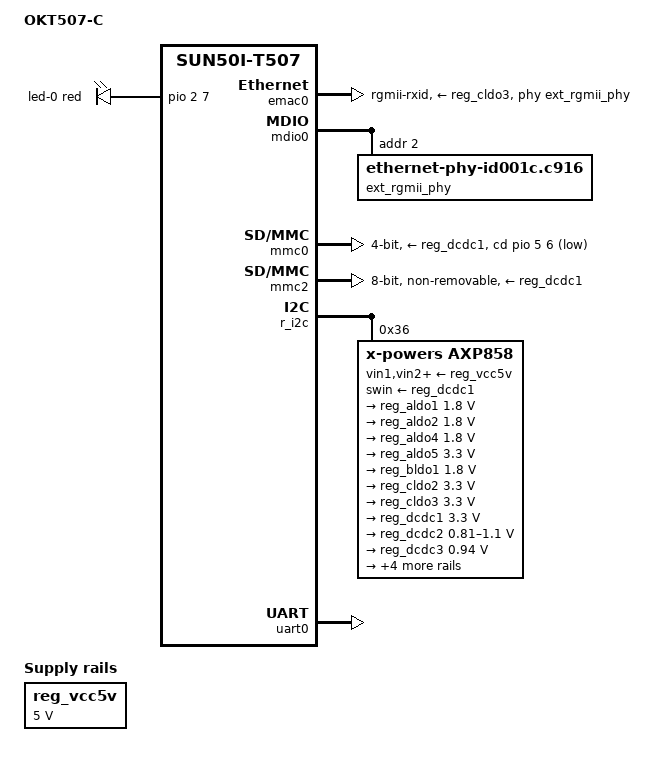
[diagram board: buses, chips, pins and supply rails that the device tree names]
// SPDX-License-Identifier: (GPL-2.0+ OR MIT)
/*
 * Copyright (C) 2024 Jernej Skrabec <jernej.skrabec@gmail.com>
 */

/dts-v1/;

#include "sun50i-h616.dtsi"

#include <dt-bindings/gpio/gpio.h>
#include <dt-bindings/interrupt-controller/arm-gic.h>
#include <dt-bindings/leds/common.h>

/ {
	model = "OKT507-C";
	compatible = "forlinx,okt507-c", "allwinner,sun50i-t507";

	aliases {
		serial0 = &uart0;
	};

	chosen {
		stdout-path = "serial0:115200n8";
	};

	leds {
		compatible = "gpio-leds";

		led-0 {
			function = LED_FUNCTION_POWER;
			color = <LED_COLOR_ID_RED>;
			gpios = <&pio 2 7 GPIO_ACTIVE_HIGH>; /* PC7 */
			default-state = "on";
		};
	};

	reg_vcc5v: vcc5v {
		compatible = "regulator-fixed";
		regulator-name = "vcc-5v";
		regulator-min-microvolt = <5000000>;
		regulator-max-microvolt = <5000000>;
		regulator-always-on;
	};
};

&cpu0 {
	cpu-supply = <&reg_dcdc2>;
};

&emac0 {
	pinctrl-names = "default";
	pinctrl-0 = <&ext_rgmii_pins>;
	phy-handle = <&ext_rgmii_phy>;
	allwinner,tx-delay-ps = <700>;
	allwinner,rx-delay-ps = <800>;
	phy-mode = "rgmii-rxid";
	phy-supply = <&reg_cldo3>;
	status = "okay";
};

&mdio0 {
	ext_rgmii_phy: ethernet-phy@2 {
		compatible = "ethernet-phy-id001c.c916",
			     "ethernet-phy-ieee802.3-c22";
		reg = <2>;
		clocks = <&ccu CLK_EMAC_25M>;
	};
};

&mmc0 {
	cd-gpios = <&pio 5 6 GPIO_ACTIVE_LOW>;	/* PF6 */
	vmmc-supply = <&reg_dcdc1>;
	bus-width = <4>;
	status = "okay";
};

&mmc2 {
	vmmc-supply = <&reg_dcdc1>;
	vqmmc-supply = <&reg_aldo1>;
	bus-width = <8>;
	non-removable;
	cap-mmc-hw-reset;
	mmc-hs200-1_8v;
	status = "okay";
};

&r_i2c {
	status = "okay";

	axp858: pmic@36 {
		compatible = "x-powers,axp858",
			     "x-powers,axp15060";
		reg = <0x36>;
		#interrupt-cells = <1>;
		interrupt-controller;
		/*interrupt-parent = <&r_intc>;
		interrupts = <0 IRQ_TYPE_LEVEL_LOW>;*/

		vin1-supply = <&reg_vcc5v>;
		vin2-supply = <&reg_vcc5v>;
		vin3-supply = <&reg_vcc5v>;
		vin4-supply = <&reg_vcc5v>;
		vin5-supply = <&reg_vcc5v>;
		vin6-supply = <&reg_vcc5v>;
		aldoin-supply = <&reg_vcc5v>;
		bldoin-supply = <&reg_vcc5v>;
		cldoin-supply = <&reg_vcc5v>;
		ips-supply = <&reg_vcc5v>;
		swin-supply = <&reg_dcdc1>;

		regulators {
			reg_aldo1: aldo1 {
				regulator-always-on;
				regulator-min-microvolt = <1800000>;
				regulator-max-microvolt = <1800000>;
				regulator-name = "vcc1v8-emmc";
			};

			reg_aldo2: aldo2 {
				regulator-always-on;
				regulator-min-microvolt = <1800000>;
				regulator-max-microvolt = <1800000>;
				regulator-name = "vcc1v8-sd";
			};

			aldo3 {
				/* unused */
			};

			reg_aldo4: aldo4 {
				/* possibly VCC-PLL */
				regulator-always-on;
				regulator-min-microvolt = <1800000>;
				regulator-max-microvolt = <1800000>;
				regulator-name = "vcc1v8";
			};

			reg_aldo5: aldo5 {
				regulator-always-on;
				regulator-min-microvolt = <3300000>;
				regulator-max-microvolt = <3300000>;
				regulator-name = "vcc3v3-cam";
			};

			reg_bldo1: bldo1 {
				regulator-always-on;
				regulator-min-microvolt = <1800000>;
				regulator-max-microvolt = <1800000>;
				regulator-name = "vcc1v8-hdmi-tv";
			};

			bldo2 {
				/* unused */
			};

			bldo3 {
				/* unused */
			};

			bldo4 {
				/* unused */
			};

			bldo5 {
				/* unused */
			};

			cldo1 {
				/* unused */
			};

			reg_cldo2: cldo2 {
				regulator-always-on;
				regulator-min-microvolt = <3300000>;
				regulator-max-microvolt = <3300000>;
				regulator-name = "vcc3v3";
			};

			reg_cldo3: cldo3 {
				regulator-min-microvolt = <3300000>;
				regulator-max-microvolt = <3300000>;
				regulator-name = "vcc3v3-gmac";
			};

			cldo4 {
				/* unused */
			};

			cpusldo {
				/* unused */
			};

			reg_dcdc1: dcdc1 {
				regulator-always-on;
				regulator-min-microvolt = <3300000>;
				regulator-max-microvolt = <3300000>;
				regulator-name = "vcc3v3-sd-emmc";
			};

			reg_dcdc2: dcdc2 {
				regulator-always-on;
				regulator-min-microvolt = <810000>;
				regulator-max-microvolt = <1100000>;
				regulator-name = "vdd-cpu";
			};

			reg_dcdc3: dcdc3 {
				regulator-always-on;
				regulator-min-microvolt = <940000>;
				regulator-max-microvolt = <940000>;
				regulator-name = "vdd-sys";
			};

			reg_dcdc4: dcdc4 {
				regulator-min-microvolt = <810000>;
				regulator-max-microvolt = <990000>;
				regulator-name = "vdd-gpu";
			};

			reg_dcdc5: dcdc5 {
				regulator-always-on;
				regulator-min-microvolt = <1500000>;
				regulator-max-microvolt = <1500000>;
				regulator-name = "vdd-dram";
			};

			dcdc6 {
				/* unused */
			};

			rtc-ldo {
				/* RTC_LDO is a fixed, always-on regulator */
				regulator-always-on;
				regulator-min-microvolt = <1800000>;
				regulator-max-microvolt = <1800000>;
				regulator-name = "rtc-ldo";
			};

			reg_sw: sw {
				regulator-name = "vcc-lcd";
			};
		};
	};
};

&uart0 {
	pinctrl-names = "default";
	pinctrl-0 = <&uart0_ph_pins>;
	status = "okay";
};
